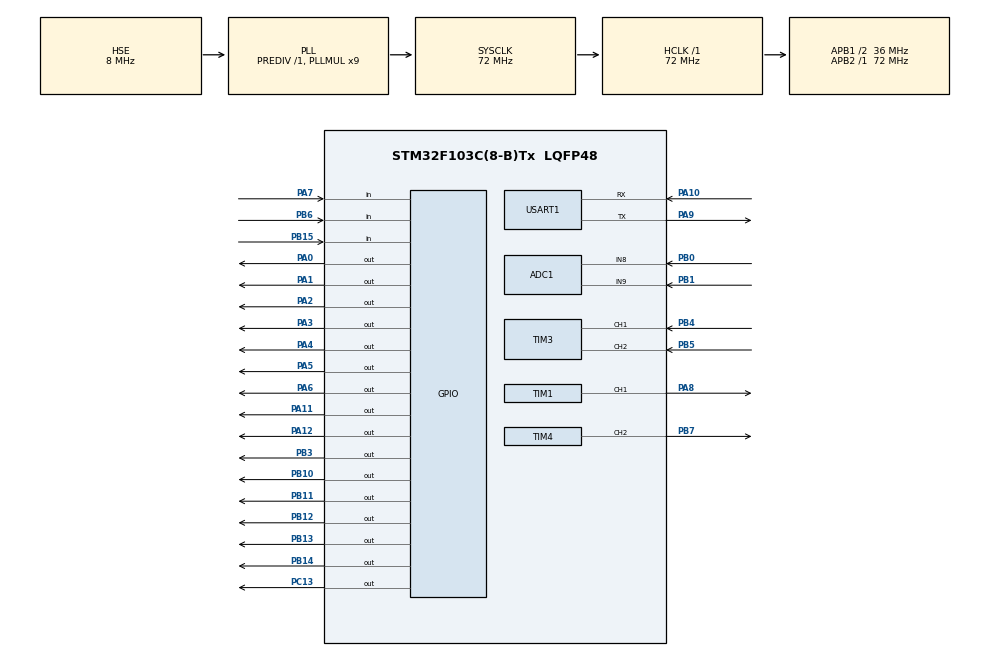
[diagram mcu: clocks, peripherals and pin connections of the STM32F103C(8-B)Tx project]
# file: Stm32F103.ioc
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ADC1.Channel-0\#ChannelRegularConversion=ADC_CHANNEL_8
ADC1.NbrOfConversionFlag=1
ADC1.Rank-0\#ChannelRegularConversion=1
ADC1.SamplingTime-0\#ChannelRegularConversion=ADC_SAMPLETIME_1CYCLE_5
ADC1.master=1
Mcu.Family=STM32F1
Mcu.Name=STM32F103C(8-B)Tx
Mcu.Package=LQFP48
NVIC.PriorityGroup=NVIC_PRIORITYGROUP_4
PA0-WKUP.Signal=GPIO_Output
PA1.Signal=GPIO_Output
PA10.Mode=Asynchronous
PA10.Signal=USART1_RX
PA11.GPIO_PuPd=GPIO_NOPULL
PA11.GPIO_Speed=GPIO_SPEED_FREQ_HIGH
PA11.Signal=GPIO_Output
PA12.GPIO_PuPd=GPIO_NOPULL
PA12.GPIO_Speed=GPIO_SPEED_FREQ_HIGH
PA12.Signal=GPIO_Output
PA13.Mode=Serial_Wire
PA13.Signal=SYS_JTMS-SWDIO
PA14.Mode=Serial_Wire
PA14.Signal=SYS_JTCK-SWCLK
PA2.Signal=GPIO_Output
PA3.Signal=GPIO_Output
PA4.Signal=GPIO_Output
PA5.Signal=GPIO_Output
PA6.Signal=GPIO_Output
PA7.GPIO_PuPd=GPIO_PULLUP
PA7.Signal=GPIO_Input
PA8.Signal=S_TIM1_CH1
PA9.Mode=Asynchronous
PA9.Signal=USART1_TX
PB0.Signal=ADCx_IN8
PB1.Signal=ADCx_IN9
PB10.GPIO_ModeDefaultOutputPP=GPIO_MODE_OUTPUT_OD
PB10.GPIO_PuPd=GPIO_PULLUP
PB10.GPIO_Speed=GPIO_SPEED_FREQ_HIGH
PB10.Signal=GPIO_Output
PB11.GPIO_ModeDefaultOutputPP=GPIO_MODE_OUTPUT_OD
PB11.GPIO_PuPd=GPIO_PULLUP
PB11.GPIO_Speed=GPIO_SPEED_FREQ_HIGH
PB11.Signal=GPIO_Output
PB12.GPIO_Speed=GPIO_SPEED_FREQ_HIGH
PB12.Signal=GPIO_Output
PB13.GPIO_Speed=GPIO_SPEED_FREQ_HIGH
PB13.Signal=GPIO_Output
PB14.GPIO_ModeDefaultOutputPP=GPIO_MODE_OUTPUT_PP
PB14.GPIO_PuPd=GPIO_NOPULL
PB14.GPIO_Speed=GPIO_SPEED_FREQ_HIGH
PB14.PinState=GPIO_PIN_RESET
PB14.Signal=GPIO_Output
PB15.GPIO_PuPd=GPIO_PULLUP
PB15.Signal=GPIO_Input
PB3.GPIO_PuPd=GPIO_NOPULL
PB3.Signal=GPIO_Output
PB4.Signal=S_TIM3_CH1
PB5.Signal=S_TIM3_CH2
PB6.GPIO_PuPd=GPIO_PULLUP
PB6.Signal=GPIO_Input
PB7.Signal=S_TIM4_CH2
PC13-TAMPER-RTC.GPIO_ModeDefaultOutputPP=GPIO_MODE_OUTPUT_OD
PC13-TAMPER-RTC.GPIO_PuPd=GPIO_PULLUP
PC13-TAMPER-RTC.PinState=GPIO_PIN_RESET
PC13-TAMPER-RTC.Signal=GPIO_Output
PD0-OSC_IN.Mode=HSE-External-Oscillator
PD0-OSC_IN.Signal=RCC_OSC_IN
PD1-OSC_OUT.Mode=HSE-External-Oscillator
PD1-OSC_OUT.Signal=RCC_OSC_OUT
ProjectManager.HeapSize=0x200
ProjectManager.StackSize=0x400
ProjectManager.TargetToolchain=CMake
RCC.ADCPresc=RCC_ADCPCLK2_DIV6
RCC.AHBFreq_Value=72000000
RCC.APB1CLKDivider=RCC_HCLK_DIV2
RCC.APB1Freq_Value=36000000
RCC.APB1TimFreq_Value=72000000
RCC.APB2Freq_Value=72000000
RCC.APB2TimFreq_Value=72000000
RCC.HCLKFreq_Value=72000000
RCC.PLLMUL=RCC_PLL_MUL9
RCC.PLLSourceVirtual=RCC_PLLSOURCE_HSE
RCC.SYSCLKFreq_VALUE=72000000
RCC.SYSCLKSource=RCC_SYSCLKSOURCE_PLLCLK
RCC.USBFreq_Value=72000000
SH.ADCx_IN8.0=ADC1_IN8,IN8
SH.ADCx_IN9.0=ADC1_IN9,IN9
SH.S_TIM1_CH1.0=TIM1_CH1,PWM Generation1 CH1
SH.S_TIM3_CH1.0=TIM3_CH1,Encoder_Interface
SH.S_TIM3_CH2.0=TIM3_CH2,Encoder_Interface
SH.S_TIM4_CH2.0=TIM4_CH2,PWM Generation2 CH2
TIM1.AutoReloadPreload=TIM_AUTORELOAD_PRELOAD_ENABLE
TIM1.Channel-PWM\ Generation1\ CH1=TIM_CHANNEL_1
TIM1.OC1Preload_PWM=DISABLE
TIM1.Period=3599
TIM3.EncoderMode=TIM_ENCODERMODE_TI12
TIM4.AutoReloadPreload=TIM_AUTORELOAD_PRELOAD_ENABLE
TIM4.Channel-PWM\ Generation2\ CH2=TIM_CHANNEL_2
TIM4.Period=1999
TIM4.Prescaler=71
TIM4.Pulse-PWM\ Generation2\ CH2=1500
USART1.VirtualMode=VM_ASYNC
VP_TIM1_VS_ClockSourceINT.Mode=Internal
VP_TIM4_VS_ClockSourceINT.Mode=Internal
board=custom

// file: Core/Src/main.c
/* USER CODE BEGIN Header */
/**
  ******************************************************************************
  * @file           : main.c
  * @brief          : Main program body
  ******************************************************************************
  * @attention
  *
  * Copyright (c) 2026 STMicroelectronics.
  * All rights reserved.
  *
  * This software is licensed under terms that can be found in the LICENSE file
  * in the root directory of this software component.
  * If no LICENSE file comes with this software, it is provided AS-IS.
  *
  ******************************************************************************
  */
/* USER CODE END Header */
#include "main.h"

/* USER CODE BEGIN Includes */
#include <stdlib.h>
#include <string.h>
#include <stdio.h>
#include "bsp.h"
#include "key.h"
#include "oled.h"
#include "adc.h"
#include "q4_app.h"
#include "oled_font.h"
#include "w25q64.h"
#include "stm32f1xx_hal.h"
#include "stm32f1xx_hal_gpio.h"
/* USER CODE END Includes */

ADC_HandleTypeDef hadc1;

TIM_HandleTypeDef htim1;
TIM_HandleTypeDef htim3;
TIM_HandleTypeDef htim4;

UART_HandleTypeDef huart1;

void SystemClock_Config(void);
static void MX_GPIO_Init(void);
static void MX_TIM3_Init(void);
static void MX_USART1_UART_Init(void);
static void MX_TIM1_Init(void);
static void MX_ADC1_Init(void);
static void MX_TIM4_Init(void);

/* USER CODE BEGIN 0 */

/**
 * @brief 供上层调用的“读后清零”事件获取函数
 * @retval 1: 刚才被按了一下; 0: 没按
 */

   // 暂停标志位 (0:运行, 1:暂停)
/* USER CODE END 0 */

int main(void)
{

  /* MCU Configuration--------------------------------------------------------*/

  /* Reset of all peripherals, Initializes the Flash interface and the Systick. */
  HAL_Init();

  /* Configure the system clock */
  SystemClock_Config();

  /* Initialize all configured peripherals */
  MX_GPIO_Init();
  MX_TIM3_Init();
  MX_USART1_UART_Init();
  MX_TIM1_Init();
  MX_ADC1_Init();
  MX_TIM4_Init();
  /* USER CODE BEGIN 2 */
  W25Q64_Init();
  //uint32_t flash_id = W25Q64_ReadID();
  OLED_Init();
  OLED_Clear();
  __HAL_RCC_AFIO_CLK_ENABLE();          // 1. 必须开启 AFIO 复用时钟！
  __HAL_AFIO_REMAP_SWJ_NOJTAG();        // 2. 彻底释放 PB3/PB4，关闭 JTAG，保留 SWD！
  __HAL_AFIO_REMAP_TIM3_PARTIAL();      // 3. 确保 TIM3 部分重映射到 PB4/PB5 真正生效！
  BSP_Init();
  HAL_GPIO_WritePin(GPIOB, GPIO_PIN_3, GPIO_PIN_SET)；
  Key_Init();
  HAL_TIM_Encoder_Start(&htim3, TIM_CHANNEL_ALL); // 开启 TIM3 编码器接口
  HAL_TIM_PWM_Start(&htim1, TIM_CHANNEL_1);
  //启动舵机 PWM 输出
  HAL_TIM_PWM_Start(&htim4, TIM_CHANNEL_2);

  //char id_str[32];
  //sprintf(id_str, "ID:0x%06X", (unsigned int)flash_id);
  //OLED_ShowString(0, 0, id_str);
  // 1. 启动板载 LED（PC13）做心跳指示

  // 2. 启动 TIM4 通道 2 的 PWM 输出（PB7）
  __HAL_RCC_TIM4_CLK_ENABLE();

  // 初始给 90 度中位 (1.5ms = 1500 计数)
  __HAL_TIM_SET_COMPARE(&htim4, TIM_CHANNEL_2, 1500);
  HAL_Delay(1000);
  /* USER CODE END 2 */

  /* Infinite loop */
  /* USER CODE BEGIN WHILE */
  //static uint32_t last_adc_tick = 0;

  while (1)
  {
    HAL_GPIO_WritePin(GPIOB, GPIO_PIN_3, GPIO_PIN_SET)；
    // ================= 测试 1：经典三档角度阶跃 =================

    // 1. 转到 45 度 (脉宽 1000us)
    __HAL_TIM_SET_COMPARE(&htim4, TIM_CHANNEL_2, 1000);
    BSP_LedAll(0x01); // 亮第 1 颗灯
    HAL_Delay(1000);

    // 2. 转到 90 度中位 (脉宽 1500us)
    __HAL_TIM_SET_COMPARE(&htim4, TIM_CHANNEL_2, 1500);
    BSP_LedAll(0x02); // 亮第 2 颗灯
    HAL_Delay(1000);

    // 3. 转到 135 度 (脉宽 2000us)
    __HAL_TIM_SET_COMPARE(&htim4, TIM_CHANNEL_2, 2000);
    BSP_LedAll(0x04); // 亮第 3 颗灯
    HAL_Delay(1000);

    // ================= 测试 2：连续平滑往复扫动 =================
    // 从 600us (约 10°) 平滑转到 2400us (约 170°)
    for (uint32_t p = 600; p <= 2400; p += 20)
    {
        __HAL_TIM_SET_COMPARE(&htim4, TIM_CHANNEL_2, p);
        HAL_Delay(15); // 每 15ms 移动一小步
    }

    // 从 2400us 倒转回 600us
    for (uint32_t p = 2400; p >= 600; p -= 20)
    {
        __HAL_TIM_SET_COMPARE(&htim4, TIM_CHANNEL_2, p);
        HAL_Delay(15);
    }

    HAL_Delay(500);
    /* USER CODE END WHILE */

  }
}

void SystemClock_Config(void)
{
  RCC_OscInitTypeDef RCC_OscInitStruct = {0};
  RCC_ClkInitTypeDef RCC_ClkInitStruct = {0};
  RCC_PeriphCLKInitTypeDef PeriphClkInit = {0};

  /** Initializes the RCC Oscillators according to the specified parameters
  * in the RCC_OscInitTypeDef structure.
  */
  RCC_OscInitStruct.OscillatorType = RCC_OSCILLATORTYPE_HSE;
  RCC_OscInitStruct.HSEState = RCC_HSE_ON;
  RCC_OscInitStruct.HSEPredivValue = RCC_HSE_PREDIV_DIV1;
  RCC_OscInitStruct.HSIState = RCC_HSI_ON;
  RCC_OscInitStruct.PLL.PLLState = RCC_PLL_ON;
  RCC_OscInitStruct.PLL.PLLSource = RCC_PLLSOURCE_HSE;
  RCC_OscInitStruct.PLL.PLLMUL = RCC_PLL_MUL9;
  if (HAL_RCC_OscConfig(&RCC_OscInitStruct) != HAL_OK)
  {
    Error_Handler();
  }

  /** Initializes the CPU, AHB and APB buses clocks
  */
  RCC_ClkInitStruct.ClockType = RCC_CLOCKTYPE_HCLK|RCC_CLOCKTYPE_SYSCLK
                              |RCC_CLOCKTYPE_PCLK1|RCC_CLOCKTYPE_PCLK2;
  RCC_ClkInitStruct.SYSCLKSource = RCC_SYSCLKSOURCE_PLLCLK;
  RCC_ClkInitStruct.AHBCLKDivider = RCC_SYSCLK_DIV1;
  RCC_ClkInitStruct.APB1CLKDivider = RCC_HCLK_DIV2;
  RCC_ClkInitStruct.APB2CLKDivider = RCC_HCLK_DIV1;

  if (HAL_RCC_ClockConfig(&RCC_ClkInitStruct, FLASH_LATENCY_2) != HAL_OK)
  {
    Error_Handler();
  }
  PeriphClkInit.PeriphClockSelection = RCC_PERIPHCLK_ADC;
  PeriphClkInit.AdcClockSelection = RCC_ADCPCLK2_DIV6;
  if (HAL_RCCEx_PeriphCLKConfig(&PeriphClkInit) != HAL_OK)
  {
    Error_Handler();
  }
}

static void MX_ADC1_Init(void)
{

  ADC_ChannelConfTypeDef sConfig = {0};

  /** Common config
  */
  hadc1.Instance = ADC1;
  hadc1.Init.ScanConvMode = ADC_SCAN_DISABLE;
  hadc1.Init.ContinuousConvMode = DISABLE;
  hadc1.Init.DiscontinuousConvMode = DISABLE;
  hadc1.Init.ExternalTrigConv = ADC_SOFTWARE_START;
  hadc1.Init.DataAlign = ADC_DATAALIGN_RIGHT;
  hadc1.Init.NbrOfConversion = 1;
  if (HAL_ADC_Init(&hadc1) != HAL_OK)
  {
    Error_Handler();
  }

  /** Configure Regular Channel
  */
  sConfig.Channel = ADC_CHANNEL_8;
  sConfig.Rank = ADC_REGULAR_RANK_1;
  sConfig.SamplingTime = ADC_SAMPLETIME_1CYCLE_5;
  if (HAL_ADC_ConfigChannel(&hadc1, &sConfig) != HAL_OK)
  {
    Error_Handler();
  }

}

static void MX_TIM1_Init(void)
{

  TIM_ClockConfigTypeDef sClockSourceConfig = {0};
  TIM_MasterConfigTypeDef sMasterConfig = {0};
  TIM_OC_InitTypeDef sConfigOC = {0};
  TIM_BreakDeadTimeConfigTypeDef sBreakDeadTimeConfig = {0};

  htim1.Instance = TIM1;
  htim1.Init.Prescaler = 0;
  htim1.Init.CounterMode = TIM_COUNTERMODE_UP;
  htim1.Init.Period = 3599;
  htim1.Init.ClockDivision = TIM_CLOCKDIVISION_DIV1;
  htim1.Init.RepetitionCounter = 0;
  htim1.Init.AutoReloadPreload = TIM_AUTORELOAD_PRELOAD_ENABLE;
  if (HAL_TIM_Base_Init(&htim1) != HAL_OK)
  {
    Error_Handler();
  }
  sClockSourceConfig.ClockSource = TIM_CLOCKSOURCE_INTERNAL;
  if (HAL_TIM_ConfigClockSource(&htim1, &sClockSourceConfig) != HAL_OK)
  {
    Error_Handler();
  }
  if (HAL_TIM_PWM_Init(&htim1) != HAL_OK)
  {
    Error_Handler();
  }
  sMasterConfig.MasterOutputTrigger = TIM_TRGO_RESET;
  sMasterConfig.MasterSlaveMode = TIM_MASTERSLAVEMODE_DISABLE;
  if (HAL_TIMEx_MasterConfigSynchronization(&htim1, &sMasterConfig) != HAL_OK)
  {
    Error_Handler();
  }
  sConfigOC.OCMode = TIM_OCMODE_PWM1;
  sConfigOC.Pulse = 0;
  sConfigOC.OCPolarity = TIM_OCPOLARITY_HIGH;
  sConfigOC.OCNPolarity = TIM_OCNPOLARITY_HIGH;
  sConfigOC.OCFastMode = TIM_OCFAST_DISABLE;
  sConfigOC.OCIdleState = TIM_OCIDLESTATE_RESET;
  sConfigOC.OCNIdleState = TIM_OCNIDLESTATE_RESET;
  if (HAL_TIM_PWM_ConfigChannel(&htim1, &sConfigOC, TIM_CHANNEL_1) != HAL_OK)
  {
    Error_Handler();
  }
  __HAL_TIM_DISABLE_OCxPRELOAD(&htim1, TIM_CHANNEL_1);
  sBreakDeadTimeConfig.OffStateRunMode = TIM_OSSR_DISABLE;
  sBreakDeadTimeConfig.OffStateIDLEMode = TIM_OSSI_DISABLE;
  sBreakDeadTimeConfig.LockLevel = TIM_LOCKLEVEL_OFF;
  sBreakDeadTimeConfig.DeadTime = 0;
  sBreakDeadTimeConfig.BreakState = TIM_BREAK_DISABLE;
  sBreakDeadTimeConfig.BreakPolarity = TIM_BREAKPOLARITY_HIGH;
  sBreakDeadTimeConfig.AutomaticOutput = TIM_AUTOMATICOUTPUT_DISABLE;
  if (HAL_TIMEx_ConfigBreakDeadTime(&htim1, &sBreakDeadTimeConfig) != HAL_OK)
  {
    Error_Handler();
  }
  HAL_TIM_MspPostInit(&htim1);

}

static void MX_TIM3_Init(void)
{

  TIM_Encoder_InitTypeDef sConfig = {0};
  TIM_MasterConfigTypeDef sMasterConfig = {0};

  htim3.Instance = TIM3;
  htim3.Init.Prescaler = 0;
  htim3.Init.CounterMode = TIM_COUNTERMODE_UP;
  htim3.Init.Period = 65535;
  htim3.Init.ClockDivision = TIM_CLOCKDIVISION_DIV1;
  htim3.Init.AutoReloadPreload = TIM_AUTORELOAD_PRELOAD_DISABLE;
  sConfig.EncoderMode = TIM_ENCODERMODE_TI12;
  sConfig.IC1Polarity = TIM_ICPOLARITY_RISING;
  sConfig.IC1Selection = TIM_ICSELECTION_DIRECTTI;
  sConfig.IC1Prescaler = TIM_ICPSC_DIV1;
  sConfig.IC1Filter = 0;
  sConfig.IC2Polarity = TIM_ICPOLARITY_RISING;
  sConfig.IC2Selection = TIM_ICSELECTION_DIRECTTI;
  sConfig.IC2Prescaler = TIM_ICPSC_DIV1;
  sConfig.IC2Filter = 0;
  if (HAL_TIM_Encoder_Init(&htim3, &sConfig) != HAL_OK)
  {
    Error_Handler();
  }
  sMasterConfig.MasterOutputTrigger = TIM_TRGO_RESET;
  sMasterConfig.MasterSlaveMode = TIM_MASTERSLAVEMODE_DISABLE;
  if (HAL_TIMEx_MasterConfigSynchronization(&htim3, &sMasterConfig) != HAL_OK)
  {
    Error_Handler();
  }

}

static void MX_TIM4_Init(void)
{

  TIM_ClockConfigTypeDef sClockSourceConfig = {0};
  TIM_MasterConfigTypeDef sMasterConfig = {0};
  TIM_OC_InitTypeDef sConfigOC = {0};

  htim4.Instance = TIM4;
  htim4.Init.Prescaler = 71;
  htim4.Init.CounterMode = TIM_COUNTERMODE_UP;
  htim4.Init.Period = 19999;
  htim4.Init.ClockDivision = TIM_CLOCKDIVISION_DIV1;
  htim4.Init.AutoReloadPreload = TIM_AUTORELOAD_PRELOAD_ENABLE;
  if (HAL_TIM_Base_Init(&htim4) != HAL_OK)
  {
    Error_Handler();
  }
  sClockSourceConfig.ClockSource = TIM_CLOCKSOURCE_INTERNAL;
  if (HAL_TIM_ConfigClockSource(&htim4, &sClockSourceConfig) != HAL_OK)
  {
    Error_Handler();
  }
  if (HAL_TIM_PWM_Init(&htim4) != HAL_OK)
  {
    Error_Handler();
  }
  sMasterConfig.MasterOutputTrigger = TIM_TRGO_RESET;
  sMasterConfig.MasterSlaveMode = TIM_MASTERSLAVEMODE_DISABLE;
  if (HAL_TIMEx_MasterConfigSynchronization(&htim4, &sMasterConfig) != HAL_OK)
  {
    Error_Handler();
  }
  sConfigOC.OCMode = TIM_OCMODE_PWM1;
  sConfigOC.Pulse = 1500;
  sConfigOC.OCPolarity = TIM_OCPOLARITY_HIGH;
  sConfigOC.OCFastMode = TIM_OCFAST_DISABLE;
  if (HAL_TIM_PWM_ConfigChannel(&htim4, &sConfigOC, TIM_CHANNEL_2) != HAL_OK)
  {
    Error_Handler();
  }
  HAL_TIM_MspPostInit(&htim4);

}

static void MX_USART1_UART_Init(void)
{

  huart1.Instance = USART1;
  huart1.Init.BaudRate = 115200;
  huart1.Init.WordLength = UART_WORDLENGTH_8B;
  huart1.Init.StopBits = UART_STOPBITS_1;
  huart1.Init.Parity = UART_PARITY_NONE;
  huart1.Init.Mode = UART_MODE_TX_RX;
  huart1.Init.HwFlowCtl = UART_HWCONTROL_NONE;
  huart1.Init.OverSampling = UART_OVERSAMPLING_16;
  if (HAL_UART_Init(&huart1) != HAL_OK)
  {
    Error_Handler();
  }

}

static void MX_GPIO_Init(void)
{
  GPIO_InitTypeDef GPIO_InitStruct = {0};

  /* GPIO Ports Clock Enable */
  __HAL_RCC_GPIOC_CLK_ENABLE();
  __HAL_RCC_GPIOD_CLK_ENABLE();
  __HAL_RCC_GPIOA_CLK_ENABLE();
  __HAL_RCC_GPIOB_CLK_ENABLE();

  /*Configure GPIO pin Output Level */
  HAL_GPIO_WritePin(GPIOC, GPIO_PIN_13, GPIO_PIN_RESET);

  /*Configure GPIO pin Output Level */
  HAL_GPIO_WritePin(GPIOA, GPIO_PIN_0|GPIO_PIN_1|GPIO_PIN_2|GPIO_PIN_3
                          |GPIO_PIN_4|GPIO_PIN_5|GPIO_PIN_6|GPIO_PIN_11
                          |GPIO_PIN_12, GPIO_PIN_RESET);

  /*Configure GPIO pin Output Level */
  HAL_GPIO_WritePin(GPIOB, GPIO_PIN_10|GPIO_PIN_11|GPIO_PIN_12|GPIO_PIN_13
                          |GPIO_PIN_14|GPIO_PIN_3, GPIO_PIN_RESET);

  /*Configure GPIO pin : PC13 */
  GPIO_InitStruct.Pin = GPIO_PIN_13;
  GPIO_InitStruct.Mode = GPIO_MODE_OUTPUT_OD;
  GPIO_InitStruct.Pull = GPIO_PULLUP;
  GPIO_InitStruct.Speed = GPIO_SPEED_FREQ_LOW;
  HAL_GPIO_Init(GPIOC, &GPIO_InitStruct);

  /*Configure GPIO pins : PA0 PA1 PA2 PA3
                           PA4 PA5 PA6 */
  GPIO_InitStruct.Pin = GPIO_PIN_0|GPIO_PIN_1|GPIO_PIN_2|GPIO_PIN_3
                          |GPIO_PIN_4|GPIO_PIN_5|GPIO_PIN_6;
  GPIO_InitStruct.Mode = GPIO_MODE_OUTPUT_PP;
  GPIO_InitStruct.Pull = GPIO_NOPULL;
  GPIO_InitStruct.Speed = GPIO_SPEED_FREQ_LOW;
  HAL_GPIO_Init(GPIOA, &GPIO_InitStruct);

  /*Configure GPIO pin : PA7 */
  GPIO_InitStruct.Pin = GPIO_PIN_7;
  GPIO_InitStruct.Mode = GPIO_MODE_INPUT;
  GPIO_InitStruct.Pull = GPIO_PULLUP;
  HAL_GPIO_Init(GPIOA, &GPIO_InitStruct);

  /*Configure GPIO pins : PB10 PB11 */
  GPIO_InitStruct.Pin = GPIO_PIN_10|GPIO_PIN_11;
  GPIO_InitStruct.Mode = GPIO_MODE_OUTPUT_OD;
  GPIO_InitStruct.Pull = GPIO_PULLUP;
  GPIO_InitStruct.Speed = GPIO_SPEED_FREQ_HIGH;
  HAL_GPIO_Init(GPIOB, &GPIO_InitStruct);

  /*Configure GPIO pins : PB12 PB13 PB14 */
  GPIO_InitStruct.Pin = GPIO_PIN_12|GPIO_PIN_13|GPIO_PIN_14;
  GPIO_InitStruct.Mode = GPIO_MODE_OUTPUT_PP;
  GPIO_InitStruct.Pull = GPIO_NOPULL;
  GPIO_InitStruct.Speed = GPIO_SPEED_FREQ_HIGH;
  HAL_GPIO_Init(GPIOB, &GPIO_InitStruct);

  /*Configure GPIO pins : PB15 PB6 */
  GPIO_InitStruct.Pin = GPIO_PIN_15|GPIO_PIN_6;
  GPIO_InitStruct.Mode = GPIO_MODE_INPUT;
  GPIO_InitStruct.Pull = GPIO_PULLUP;
  HAL_GPIO_Init(GPIOB, &GPIO_InitStruct);

  /*Configure GPIO pins : PA11 PA12 */
  GPIO_InitStruct.Pin = GPIO_PIN_11|GPIO_PIN_12;
  GPIO_InitStruct.Mode = GPIO_MODE_OUTPUT_PP;
  GPIO_InitStruct.Pull = GPIO_NOPULL;
  GPIO_InitStruct.Speed = GPIO_SPEED_FREQ_HIGH;
  HAL_GPIO_Init(GPIOA, &GPIO_InitStruct);

  /*Configure GPIO pin : PB3 */
  GPIO_InitStruct.Pin = GPIO_PIN_3;
  GPIO_InitStruct.Mode = GPIO_MODE_OUTPUT_PP;
  GPIO_InitStruct.Pull = GPIO_NOPULL;
  GPIO_InitStruct.Speed = GPIO_SPEED_FREQ_LOW;
  HAL_GPIO_Init(GPIOB, &GPIO_InitStruct);

}

void Error_Handler(void)
{
  __disable_irq();
  while (1)
  {
  }
}
